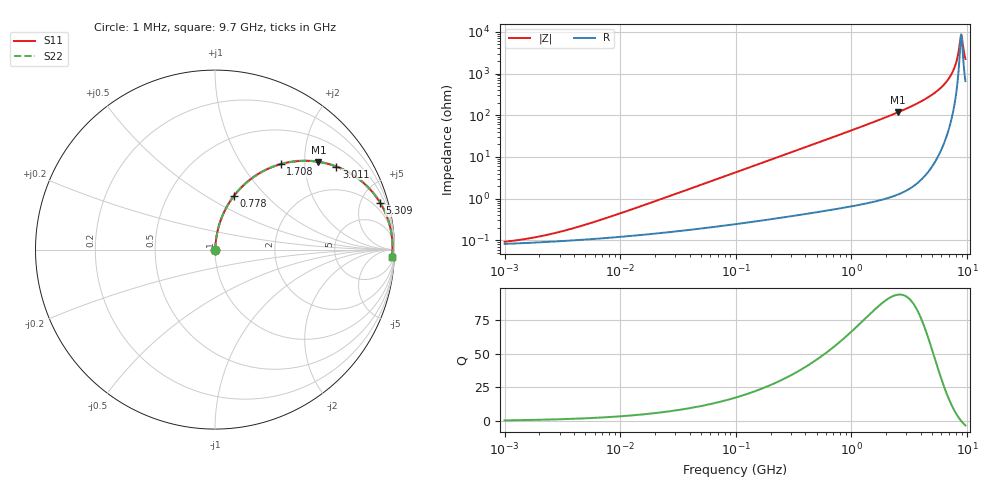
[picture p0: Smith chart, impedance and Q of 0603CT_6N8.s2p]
# MHz  S  MA  R  50
!Freq  MagS11  AngS11  MagS21  AngS21  MagS12  AngS12  MagS22  AngS22
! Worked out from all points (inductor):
!   924 points, 1 MHz to 9.7 GHz, reference 50 ohm
!   read as one part in series: L = 6.8 nH near 8.162 MHz
!   highest Q = 93.6 at 2.517 GHz (marker M1), where L = 7.39 nH
!   self-resonance near 8.907 GHz
!   S11 on the Smith chart (normalised r, x): 1 MHz: 1.00, +0.00; 778 MHz: 1.01, +0.67; 1.708 GHz: 1.02, +1.51; 3.011 GHz: 1.03, +2.90; 5.309 GHz: 1.15, +7.01; 9.7 GHz: 14, -43
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1  0.0009248 27.5  0.9992 -0.0  0.9992 -0.0  0.0009248 27.5
2.109128  0.001274 44.9  0.9991 -0.1  0.9991 -0.1  0.001274 44.9
4.629047  0.002227 62.4  0.999 -0.1  0.999 -0.1  0.002227 62.4
21.42807  0.00926 80.3  0.9985 -0.5  0.9985 -0.5  0.00926 80.3
99.19155  0.04231 84.3  0.9967 -2.4  0.9967 -2.4  0.04231 84.3
459.1623  0.1922 77.6  0.9769 -11.1  0.9769 -11.1  0.1922 77.6
778.0349  0.316 70.6  0.9433 -18.4  0.9433 -18.4  0.316 70.6
1158.388  0.4472 62.6  0.8882 -26.6  0.8882 -26.6  0.4472 62.6
1707.606  0.6003 52.4  0.7927 -36.9  0.7927 -36.9  0.6003 52.4
2104.439  0.6858 46.1  0.7203 -43.3  0.7203 -43.3  0.6858 46.1
2517.22  0.7557 40.3  0.6469 -49.1  0.6469 -49.1  0.7557 40.3
3010.966  0.8193 34.4  0.5645 -55.0  0.5645 -55.0  0.8193 34.4
4098.911  0.9071 24.1  0.4089 -65.1  0.4089 -65.1  0.9071 24.1
5309.14  0.9561 15.8  0.2727 -72.9  0.2727 -72.9  0.9561 15.8
6478.16  0.9787 9.7  0.1678 -77.9  0.1678 -77.9  0.9787 9.7
7446.478  0.9869 5.4  0.09517 -79.4  0.09517 -79.4  0.9869 5.4
8063.469  0.9889 3.1  0.05422 -76.7  0.05422 -76.7  0.9889 3.1
8307.8  0.9892 2.2  0.03919 -72.9  0.03919 -72.9  0.9892 2.2
8645.13  0.9891 1.0  0.02032 -57.0  0.02032 -57.0  0.9891 1.0
8818.897  0.9889 0.4  0.0131 -31.6  0.0131 -31.6  0.9889 0.4
9086.118  0.9883 -0.5  0.01443 35.6  0.01443 35.6  0.9883 -0.5
9700  0.9861 -2.4  0.04418 70.5  0.04418 70.5  0.9861 -2.4
